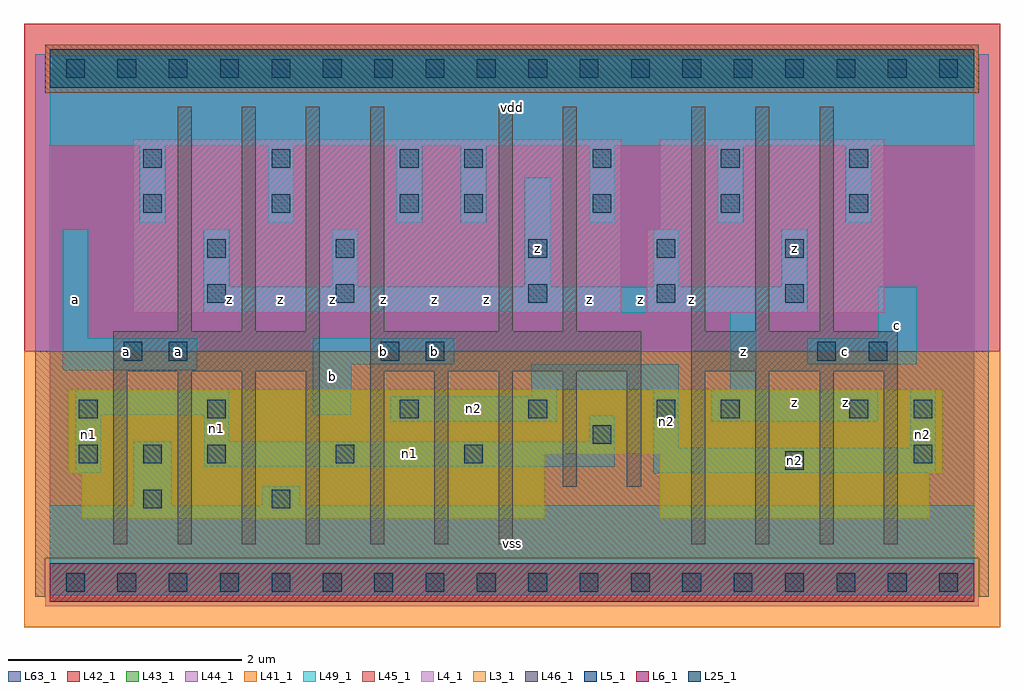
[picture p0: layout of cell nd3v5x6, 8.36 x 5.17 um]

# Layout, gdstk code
import gdstk
lib = gdstk.Library(unit=1e-6, precision=1e-09)
def R(c, l, rs):  # rectangles x0, y0, x1, y1
    for r in rs: c.add(gdstk.rectangle(r[:2], r[2:], *l))
def A(c, l, x, y, w, h, nx, ny, dx, dy):  # array of equal rectangles
    R(c, l, [(x+i*dx, y+j*dy, x+i*dx+w, y+j*dy+h) for i in range(nx) for j in range(ny)])
L3_1 = (3, 1)
L4_1 = (4, 1)
L5_1 = (5, 1)
L6_1 = (6, 1)
L25_1 = (25, 1)
L41_1 = (41, 1)
L42_1 = (42, 1)
L43_1 = (43, 1)
L44_1 = (44, 1)
L45_1 = (45, 1)
L46_1 = (46, 1)
L49_1 = (49, 1)
L63_1 = (63, 1)

nd3v5x6 = lib.new_cell('nd3v5x6')
R(nd3v5x6, L3_1, [(0.275,0.55,4.235,0.935), (5.225,0.55,7.535,0.935), (0.165,0.935,4.235,1.1), (5.225,0.935,7.645,1.1), (0.165,1.1,7.645,1.65)])
R(nd3v5x6, L4_1, [(0.715,2.31,4.895,3.795), (5.115,2.31,7.15,3.025), (5.225,3.025,7.15,3.795)])
R(nd3v5x6, L5_1, [(0,4.235,7.92,4.565)])
R(nd3v5x6, L6_1, [(0,-0.165,7.92,0.165)])
A(nd3v5x6, L25_1, 0.14, -0.08, 0.16, 0.16, 18, 2, 0.44, 4.4)
A(nd3v5x6, L25_1, 0.25, 1.02, 0.16, 0.16, 3, 1, 0.55, 0)
A(nd3v5x6, L25_1, 3, 1.405, 0.16, 0.16, 3, 1, 1.1, 0)
A(nd3v5x6, L25_1, 4.1, 2.395, 0.16, 0.16, 3, 2, 1.1, 0.385)
A(nd3v5x6, L25_1, 0.8, 3.165, 0.16, 0.16, 3, 2, 1.1, 0.385)
A(nd3v5x6, L25_1, 3.55, 3.165, 0.16, 0.16, 4, 2, 1.1, 0.385)
R(nd3v5x6, L25_1, [(0.8,0.635,0.96,0.795), (1.9,0.635,2.06,0.795), (6.3,0.965,6.46,1.125), (2.45,1.02,2.61,1.18), (3.55,1.02,3.71,1.18), (7.4,1.02,7.56,1.18), (4.65,1.185,4.81,1.345), (0.25,1.405,0.41,1.565), (1.35,1.405,1.51,1.565), (5.75,1.405,5.91,1.565), (6.85,1.405,7.01,1.565), (7.4,1.405,7.56,1.565), (0.635,1.9,0.795,2.06), (1.02,1.9,1.18,2.06), (2.835,1.9,2.995,2.06), (3.22,1.9,3.38,2.06), (6.575,1.9,6.735,2.06), (7.015,1.9,7.175,2.06), (1.35,2.395,1.51,2.555), (2.45,2.395,2.61,2.555), (1.35,2.78,1.51,2.94), (2.45,2.78,2.61,2.94)])
R(nd3v5x6, L41_1, [(-0.22,-0.385,8.14,1.98)])
R(nd3v5x6, L42_1, [(-0.22,1.98,8.14,4.785)])
R(nd3v5x6, L43_1, [(0,-0.165,7.92,0.165), (0.275,0.55,4.235,0.935), (5.225,0.55,7.535,0.935), (0.165,0.935,4.235,1.1), (5.225,0.935,7.645,1.1), (0.165,1.1,7.645,1.65), (0.715,2.31,4.895,3.795), (5.115,2.31,7.15,3.025), (5.225,3.025,7.15,3.795), (0,4.235,7.92,4.565)])
R(nd3v5x6, L44_1, [(-0.04,-0.205,7.96,0.205), (-0.125,1.98,8.045,4.195), (-0.125,4.195,-0.04,4.525), (7.96,4.195,8.045,4.525)])
R(nd3v5x6, L45_1, [(-0.125,-0.125,-0.04,0.205), (7.96,-0.125,8.045,0.205), (-0.125,0.205,8.045,1.98), (-0.04,4.195,7.96,4.605)])
A(nd3v5x6, L46_1, 0.545, 0.325, 0.12, 1.485, 7, 1, 0.55, 0)
A(nd3v5x6, L46_1, 5.495, 0.325, 0.12, 1.485, 4, 1, 0.55, 0)
A(nd3v5x6, L46_1, 1.095, 2.15, 0.12, 1.925, 4, 1, 0.55, 0)
A(nd3v5x6, L46_1, 5.495, 2.15, 0.12, 1.925, 3, 1, 0.55, 0)
R(nd3v5x6, L46_1, [(4.395,0.82,4.515,1.81), (4.945,0.82,5.065,1.81), (0.545,1.81,2.315,2.15), (2.745,1.81,5.065,2.15), (5.495,1.81,7.265,2.15), (3.845,2.15,3.965,4.075), (4.395,2.15,4.515,4.075)])
A(nd3v5x6, L49_1, 0.77, 3.08, 0.22, 0.66, 3, 1, 1.1, 0)
A(nd3v5x6, L49_1, 3.52, 3.08, 0.22, 0.66, 4, 1, 1.1, 0)
R(nd3v5x6, L49_1, [(0,-0.11,7.92,0.66), (0.715,0.66,1.045,1.21), (1.815,0.66,2.145,0.825), (0.22,0.935,0.44,1.43), (5.17,0.935,7.59,1.155), (1.32,0.99,4.84,1.21), (5.17,1.155,5.39,1.65), (7.37,1.155,7.59,1.65), (1.32,1.21,1.54,1.43), (4.62,1.21,4.84,1.43), (2.915,1.375,4.345,1.595), (5.665,1.375,7.095,1.65), (0.22,1.43,1.54,1.65), (2.255,1.43,2.585,1.87), (4.125,1.595,4.345,1.65), (4.125,1.65,5.39,1.87), (5.83,1.65,6.05,2.31), (0.11,1.815,1.265,2.09), (2.255,1.87,3.465,2.09), (6.49,1.87,7.425,2.09), (0.11,2.09,0.33,3.025), (7.095,2.09,7.425,2.53), (1.32,2.31,6.49,2.53), (1.32,2.53,1.54,3.025), (2.42,2.53,2.64,3.025), (4.07,2.53,4.29,3.465), (5.17,2.53,5.39,3.025), (6.27,2.53,6.49,3.025), (0,3.74,7.92,4.51)])
R(nd3v5x6, L63_1, [(0,0,7.92,4.4)])
nd3v5x6.add(gdstk.Label('n1', (0.33,1.265), layer=49, texttype=1))
nd3v5x6.add(gdstk.Label('a', (0.22,2.42), layer=49, texttype=1))
nd3v5x6.add(gdstk.Label('a', (0.66,1.98), layer=49, texttype=1))
nd3v5x6.add(gdstk.Label('a', (1.1,1.98), layer=49, texttype=1))
nd3v5x6.add(gdstk.Label('n1', (1.43,1.32), layer=49, texttype=1))
nd3v5x6.add(gdstk.Label('b', (2.42,1.76), layer=49, texttype=1))
nd3v5x6.add(gdstk.Label('z', (1.54,2.42), layer=49, texttype=1))
nd3v5x6.add(gdstk.Label('z', (2.42,2.42), layer=49, texttype=1))
nd3v5x6.add(gdstk.Label('z', (2.86,2.42), layer=49, texttype=1))
nd3v5x6.add(gdstk.Label('b', (2.86,1.98), layer=49, texttype=1))
nd3v5x6.add(gdstk.Label('z', (1.98,2.42), layer=49, texttype=1))
nd3v5x6.add(gdstk.Label('vss', (3.96,0.33), layer=49, texttype=1))
nd3v5x6.add(gdstk.Label('n2', (3.63,1.485), layer=49, texttype=1))
nd3v5x6.add(gdstk.Label('z', (3.3,2.42), layer=49, texttype=1))
nd3v5x6.add(gdstk.Label('b', (3.3,1.98), layer=49, texttype=1))
nd3v5x6.add(gdstk.Label('z', (4.62,2.42), layer=49, texttype=1))
nd3v5x6.add(gdstk.Label('z', (3.74,2.42), layer=49, texttype=1))
nd3v5x6.add(gdstk.Label('z', (4.18,2.86), layer=49, texttype=1))
nd3v5x6.add(gdstk.Label('vdd', (3.96,4.07), layer=49, texttype=1))
nd3v5x6.add(gdstk.Label('n1', (3.08,1.1), layer=49, texttype=1))
nd3v5x6.add(gdstk.Label('n2', (5.28,1.375), layer=49, texttype=1))
nd3v5x6.add(gdstk.Label('z', (5.06,2.42), layer=49, texttype=1))
nd3v5x6.add(gdstk.Label('z', (5.5,2.42), layer=49, texttype=1))
nd3v5x6.add(gdstk.Label('z', (5.94,1.98), layer=49, texttype=1))
nd3v5x6.add(gdstk.Label('z', (6.38,1.54), layer=49, texttype=1))
nd3v5x6.add(gdstk.Label('n2', (6.38,1.045), layer=49, texttype=1))
nd3v5x6.add(gdstk.Label('n2', (7.48,1.265), layer=49, texttype=1))
nd3v5x6.add(gdstk.Label('z', (6.82,1.54), layer=49, texttype=1))
nd3v5x6.add(gdstk.Label('c', (7.26,2.2), layer=49, texttype=1))
nd3v5x6.add(gdstk.Label('c', (6.82,1.98), layer=49, texttype=1))
nd3v5x6.add(gdstk.Label('z', (6.38,2.86), layer=49, texttype=1))

lib.write_gds('nd3v5x6.gds')
